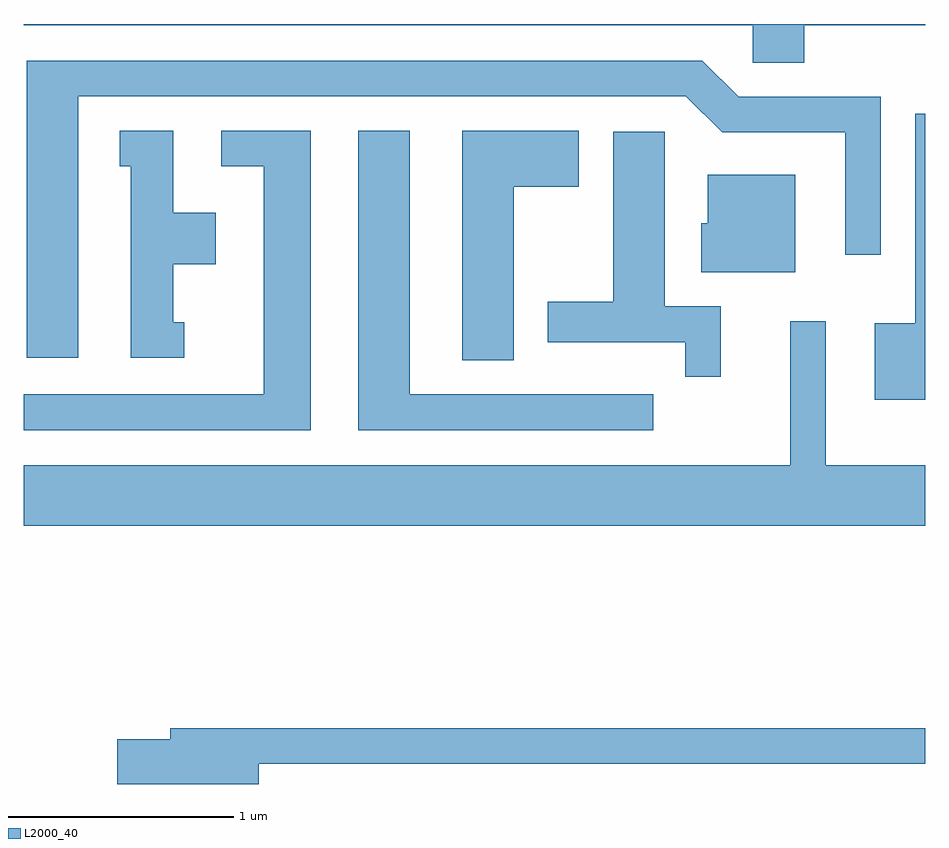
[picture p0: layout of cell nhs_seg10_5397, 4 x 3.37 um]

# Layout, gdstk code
import gdstk
lib = gdstk.Library(unit=1e-6, precision=1e-09)
def P(c, l, *ps):  # polygons
    for p in ps: c.add(gdstk.Polygon(p, *l))
L2000_40 = (2000, 40)

nhs_seg10_5397 = lib.new_cell('nhs_seg10_5397')
P(nhs_seg10_5397, L2000_40, [(347.074,2180.516),(347.611,2180.516),(347.611,2180.522),(343.611,2180.522),(343.611,2180.516),(346.846,2180.516),(346.846,2180.351),(347.074,2180.351)],
  [(343.854,2180.201),(346.549,2180.201),(346.709,2180.041),(347.256,2180.041),(347.256,2179.498),(347.414,2179.498),(347.414,2180.199),(346.782,2180.199),(346.622,2180.359),(343.626,2180.359),(343.626,2179.041),(343.854,2179.041)],
  [(347.611,2180.123),(347.566,2180.123),(347.566,2179.194),(347.386,2179.194),(347.386,2178.856),(347.611,2178.856)],
  [(345.784,2179.801),(346.074,2179.801),(346.074,2180.049),(345.556,2180.049),(345.556,2179.031),(345.784,2179.031)],
  [(344.884,2180.049),(344.488,2180.049),(344.488,2179.891),(344.676,2179.891),(344.676,2178.879),(343.611,2178.879),(343.611,2178.721),(344.884,2178.721)],
  [(346.403,2178.879),(345.324,2178.879),(345.324,2180.049),(345.096,2180.049),(345.096,2178.721),(346.403,2178.721)],
  [(344.323,2179.199),(344.274,2179.199),(344.274,2179.456),(344.464,2179.456),(344.464,2179.684),(344.274,2179.684),(344.274,2180.049),(344.038,2180.049),(344.038,2179.891),(344.086,2179.891),(344.086,2179.041),(344.323,2179.041)],
  [(346.704,2179.269),(346.454,2179.269),(346.454,2180.044),(346.226,2180.044),(346.226,2179.289),(345.936,2179.289),(345.936,2179.111),(346.546,2179.111),(346.546,2178.958),(346.704,2178.958)],
  [(347.034,2179.854),(346.646,2179.854),(346.646,2179.639),(346.616,2179.639),(346.616,2179.421),(347.034,2179.421)],
  [(347.611,2178.564),(347.169,2178.564),(347.169,2179.203),(347.011,2179.203),(347.011,2178.564),(343.611,2178.564),(343.611,2178.296),(347.611,2178.296)],
  [(344.654,2177.241),(347.611,2177.241),(347.611,2177.399),(344.261,2177.399),(344.261,2177.349),(344.026,2177.349),(344.026,2177.151),(344.654,2177.151)])

lib.write_gds('nhs_seg10_5397.gds')
